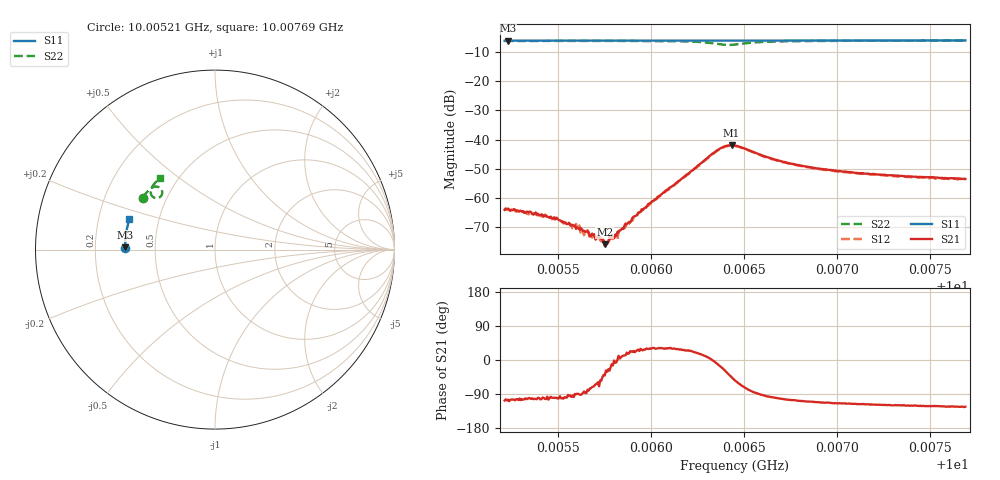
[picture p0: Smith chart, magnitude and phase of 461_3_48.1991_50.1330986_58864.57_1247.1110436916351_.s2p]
#  HZ  S  RI  R  50.00
! Rohde & Schwarz Vector Network Analyzer
! Rohde-Schwarz,ZNB20-2Port,1311601062101988,3.16
! Created: UTC 3/20/2024, 11:56:45 AM
! freq[Hz]  re:S11  im:S11  re:S21  im:S21  re:S12  im:S12  re:S22  im:S22
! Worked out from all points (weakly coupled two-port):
!   401 points, 10.00521 GHz to 10.00769 GHz, reference 50 ohm
!   highest |S21| = -41.95 dB at 10.00643 GHz (marker M1); lowest = -76.1 dB at 10.00575 GHz (marker M2)
!   lowest |S11| = -6.0 dB at 10.00523 GHz (marker M3), VSWR 3.01, Z = 16.6 + j0.528 ohm
!   |S11| at or under -10 dB: nowhere
!   |S22| runs from -7.5 to -6.0 dB; largest |S21 - S12| = 0.00052
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1.0005211e10  -0.5008 0.0106  -0.000181 -0.000591  -0.000133 -0.000658  -0.4018 0.2897
1.000523e10  -0.5006 0.0119  -0.000168 -0.00063  -0.000126 -0.00062  -0.4012 0.2908
1.0005441e10  -0.5007 0.0257  -5.38e-05 -0.000471  -0.000106 -0.00046  -0.3926 0.3033
1.0005577e10  -0.5004 0.0345  -2.21e-05 -0.00034  4.57e-06 -0.000295  -0.3864 0.3114
1.0005602e10  -0.5003 0.036  6.49e-06 -0.000306  -2e-05 -0.000284  -0.3853 0.3129
1.0005626e10  -0.5002 0.0377  -1.11e-06 -0.00029  5.89e-05 -0.000267  -0.3841 0.3143
1.0005651e10  -0.5001 0.0392  1.33e-05 -0.000259  5.06e-05 -0.000265  -0.3828 0.3158
1.000575e10  -0.4997 0.0458  0.000119 -0.000103  0.000129 -6.99e-05  -0.3777 0.3221
1.0005763e10  -0.4997 0.0465  0.000144 -8.61e-05  0.000144 -6.9e-05  -0.3771 0.3229
1.0005787e10  -0.4996 0.0482  0.000199 -3.87e-05  0.000229 -4.07e-05  -0.3758 0.3245
1.0005806e10  -0.4995 0.0493  0.000231 -3.01e-05  0.000199 3.85e-06  -0.3746 0.3256
1.0005837e10  -0.4994 0.0513  0.000277 3.47e-05  0.000258 6.82e-05  -0.3726 0.3276
1.0005918e10  -0.4989 0.0566  0.000454 0.000191  0.000427 0.000236  -0.3673 0.3329
1.0006041e10  -0.4983 0.0646  0.000897 0.000559  0.000873 0.000599  -0.3573 0.3412
1.0006339e10  -0.4955 0.0837  0.00601 -0.000378  0.0059 -8.38e-05  -0.2991 0.3355
1.0006388e10  -0.495 0.0867  0.00687 -0.00306  0.00685 -0.00267  -0.2949 0.3103
1.0006432e10  -0.4945 0.089  0.00562 -0.00567  0.00583 -0.00526  -0.3103 0.2905
1.000645e10  -0.4944 0.0902  0.00462 -0.00638  0.00495 -0.00598  -0.3202 0.2871
1.0006667e10  -0.4928 0.1041  -0.000757 -0.00445  -0.000591 -0.00441  -0.3582 0.3277
1.0006865e10  -0.4903 0.1168  -0.00113 -0.00309  -0.000978 -0.00307  -0.3497 0.3503
1.0007281e10  -0.4842 0.1431  -0.00118 -0.00214  -0.00105 -0.00216  -0.3282 0.3776
1.0007689e10  -0.4771 0.1682  -0.00116 -0.00176  -0.00109 -0.00175  -0.3072 0.3978
